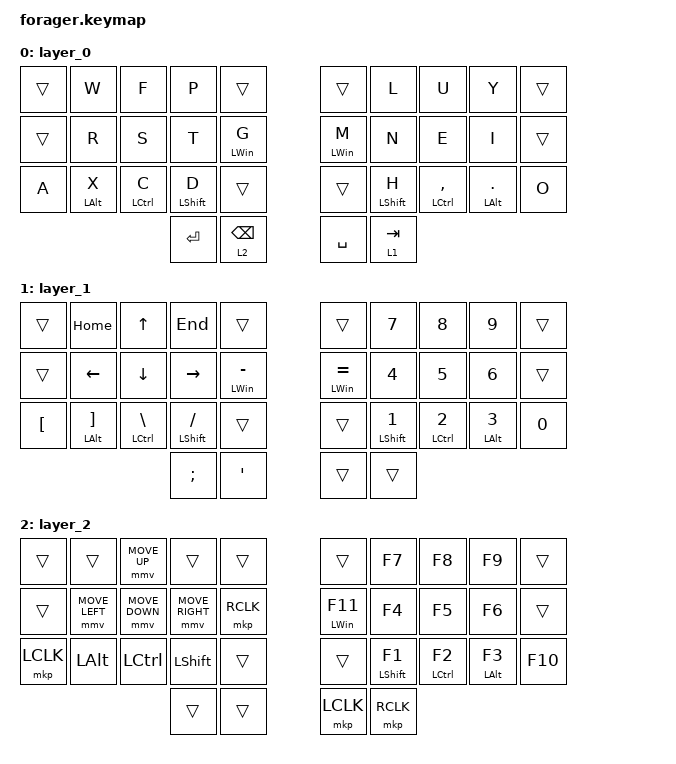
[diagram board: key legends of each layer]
#define ZMK_POINTING_DEFAULT_MOVE_VAL 1000  // default: 600
#define ZMK_POINTING_DEFAULT_SCRL_VAL 15    // default: 10

#include <behaviors.dtsi>
#include <dt-bindings/zmk/bt.h>
#include <dt-bindings/zmk/keys.h>
#include <dt-bindings/zmk/pointing.h>

#define BASE 0
#define NAV  1
#define SYM  2
#define ADJ  3

/*
 * Copyright (c) 2020 The ZMK Contributors
 *
 * SPDX-License-Identifier: MIT
 */

&lt {
    quick-tap-ms = <200>;
    tapping-term-ms = <150>;
    flavor = "balanced";
};

&mt { quick-tap-ms = <200>; };

/ {
    behaviors {
        thumb_ht: thumb_hold_tap {
            compatible = "zmk,behavior-hold-tap";
            label = "HOMEROW_MODS";
            #binding-cells = <2>;
            tapping-term-ms = <150>;
            flavor = "balanced";
            bindings = <&kp>, <&kp>;

            quick-tap-ms = <180>;
            hold-trigger-key-positions = <0 1 2 3 4 14 10 11 12 13 14 20 21 22 23 24 5 6 7 8 9 15 16 17 18 19 25 26 27 28 29>;
        };

        hml: left_homerow_mods {
            compatible = "zmk,behavior-hold-tap";
            #binding-cells = <2>;
            flavor = "balanced";
            tapping-term-ms = <220>;
            quick-tap-ms = <200>;
            require-prior-idle-ms = <100>;
            bindings = <&kp>, <&kp>;

            hold-trigger-key-positions = <5 6 7 8 9 15 16 17 18 19 25 26 27 28 29 30 31 32 33>;
            hold-trigger-on-release;
        };

        hmr: right_homerow_mods {
            compatible = "zmk,behavior-hold-tap";
            #binding-cells = <2>;
            flavor = "balanced";
            tapping-term-ms = <220>;
            quick-tap-ms = <200>;
            require-prior-idle-ms = <100>;
            bindings = <&kp>, <&kp>;

            hold-trigger-key-positions = <0 1 2 3 4 10 11 12 13 14 20 21 22 23 24 30 31 32 33>;
            hold-trigger-on-release;
        };

        as: auto_shift {
            compatible = "zmk,behavior-hold-tap";
            label = "AUTO_SHIFT";
            bindings = <&kp>, <&kp>;

            #binding-cells = <2>;
            flavor = "tap-preferred";
            tapping-term-ms = <250>;
            require-prior-idle-ms = <100>;
        };
    };

    combos {
        compatible = "zmk,combos";

        q {
            bindings = <&kp Q>;
            key-positions = <1 2>;
        };

        b {
            bindings = <&kp B>;
            key-positions = <3 2>;
        };

        z {
            bindings = <&kp Z>;
            key-positions = <21 22>;
        };

        v {
            bindings = <&kp V>;
            key-positions = <23 22>;
        };

        j {
            bindings = <&kp J>;
            key-positions = <6 7>;
        };

        k {
            bindings = <&kp K>;
            key-positions = <26 27>;
        };

        escape {
            bindings = <&kp ESCAPE>;
            key-positions = <13 12>;
        };

        middleclick {
            bindings = <&mkp MCLK>;
            key-positions = <33 32>;
        };

        bt-clear-profiles {
            bindings = <&bt BT_CLR_ALL>;
            key-positions = <1 2 3 6 7 8>;
        };
    };

    keymap {
        compatible = "zmk,keymap";

        layer_0 {
            bindings = <
  &trans  &kp W            &kp F                &kp P              &trans             &trans           &kp L              &kp U                    &kp Y                 &trans
  &trans  &kp R            &kp S                &kp T              &hml LEFT_WIN G    &hmr LEFT_WIN M  &kp N              &kp E                    &kp I                 &trans
  &kp A   &hml LEFT_ALT X  &hml LEFT_CONTROL C  &hml LEFT_SHIFT D  &trans             &trans           &hmr LEFT_SHIFT H  &hmr LEFT_CONTROL COMMA  &hmr LEFT_ALT PERIOD  &kp O
                                                &kp RET            &lt 2 BACKSPACE    &kp SPACE        &lt 1 TAB
            >;
        };

        layer_1 {
            bindings = <
  &trans            &kp HOME                     &kp UP_ARROW                 &kp END                &trans                 &trans               &kp NUMBER_7              &kp NUMBER_8                &kp NUMBER_9            &trans
  &trans            &kp LEFT                     &kp DOWN                     &kp RIGHT              &hml LEFT_WIN MINUS    &hmr LEFT_WIN EQUAL  &kp NUMBER_4              &kp NUMBER_5                &kp NUMBER_6            &trans
  &kp LEFT_BRACKET  &hml LEFT_ALT RIGHT_BRACKET  &hml LEFT_CONTROL BACKSLASH  &hml LEFT_SHIFT SLASH  &trans                 &trans               &hmr LEFT_SHIFT NUMBER_1  &hmr LEFT_CONTROL NUMBER_2  &hmr LEFT_ALT NUMBER_3  &kp NUMBER_0
                                                                              &kp SEMI               &kp SINGLE_QUOTE       &trans               &trans
            >;
        };

        layer_2 {
            bindings = <
  &trans     &trans          &mmv MOVE_UP      &trans           &trans       &trans             &kp F7              &kp F8                &kp F9            &trans
  &trans     &mmv MOVE_LEFT  &mmv MOVE_DOWN    &mmv MOVE_RIGHT  &mkp RCLK    &hmr LEFT_WIN F11  &kp F4              &kp F5                &kp F6            &trans
  &mkp LCLK  &kp LEFT_ALT    &kp LEFT_CONTROL  &kp LEFT_SHIFT   &trans       &trans             &hmr LEFT_SHIFT F1  &hmr LEFT_CONTROL F2  &hmr LEFT_ALT F3  &kp F10
                                               &trans           &trans       &mkp LCLK          &mkp RCLK
            >;
        };
    };
};
